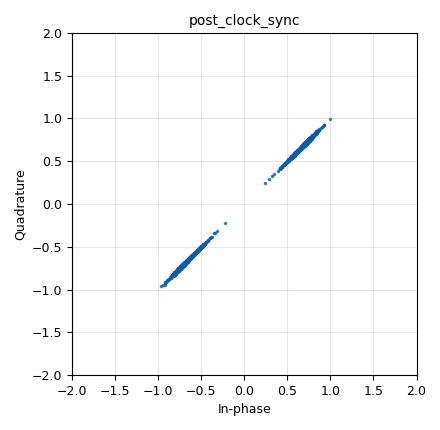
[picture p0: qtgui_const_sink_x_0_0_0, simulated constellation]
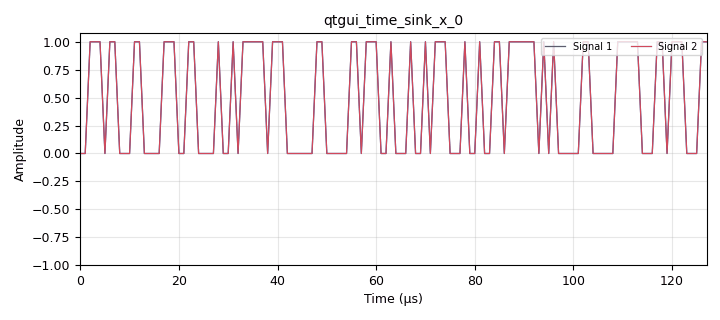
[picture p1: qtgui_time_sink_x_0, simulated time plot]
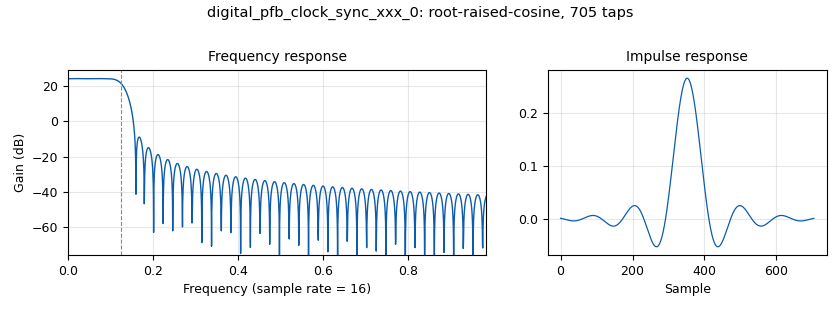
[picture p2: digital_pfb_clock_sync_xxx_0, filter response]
options:
  parameters:
    author: J. Gier
    generate_options: qt_gui
    id: BPSK_Mod_Demod
    output_language: python
    title: BPSK Modulator / Demodulator
  states: {}

blocks:
- name: bpsk
  id: variable_constellation
  parameters:
    precision: '8'
    type: bpsk
  states: {}
- name: delay
  id: variable
  parameters:
    value: int((1.875*sps+7)*2)
  states: {}
- name: excess_bw
  id: variable
  parameters:
    value: '0.220'
  states: {}
- name: freq_offset
  id: variable_qtgui_range
  parameters:
    label: 'Channel: Freq Offset'
    start: '-100e-2 * (1/samp_rate)'
    step: 10e-2 * (1/samp_rate)
    stop: 100e-2 * (1/samp_rate)
    value: '0'
  states: {}
- name: nfilts
  id: variable
  parameters:
    value: '16'
  states: {}
- name: noise_volt
  id: variable_qtgui_range
  parameters:
    label: 'Channel: Noise Voltage'
    start: '0'
    step: '100e-3'
    stop: '500e-3'
    value: '10E-3'
  states: {}
- name: phase_bw
  id: variable
  parameters:
    value: '62.8e-3'
  states: {}
- name: rrc_taps
  id: variable
  parameters:
    value: firdes.root_raised_cosine(nfilts, nfilts, 1.0/float(sps), excess_bw, 11*sps*nfilts)
  states: {}
- name: samp_rate
  id: variable
  parameters:
    value: '1000000'
  states: {}
- name: sps
  id: variable
  parameters:
    value: '4'
  states: {}
- name: time_offset
  id: variable_qtgui_range
  parameters:
    label: 'Channel: time offset'
    start: '0.999'
    step: '100e-6'
    stop: '1.001'
    value: '1'
  states: {}
- name: BER
  id: qtgui_number_sink
  parameters:
    graph_type: qtgui.NUM_GRAPH_NONE
    name: BER
    type: float
  states: {}
- name: analog_random_source_x_0
  id: analog_random_source_x
  parameters:
    max: '255'
    min: '0'
    num_samps: '10000'
    repeat: 'True'
    type: byte
  states: {}
- name: blocks_char_to_float_0
  id: blocks_char_to_float
  parameters:
    scale: '1'
  states: {}
- name: blocks_char_to_float_0_0
  id: blocks_char_to_float
  parameters:
    scale: '1'
  states: {}
- name: blocks_char_to_float_0_0_0
  id: blocks_char_to_float
  parameters:
    scale: '1'
  states: {}
- name: blocks_delay_0
  id: blocks_delay
  parameters:
    delay: delay
    type: byte
  states: {}
- name: blocks_integrate_xx_0
  id: blocks_integrate_xx
  parameters:
    decim: '100'
    type: float
  states: {}
- name: blocks_multiply_const_vxx_0
  id: blocks_multiply_const_vxx
  parameters:
    const: '0.010'
    type: float
  states: {}
- name: blocks_throttle2_0
  id: blocks_throttle2
  parameters:
    samples_per_second: samp_rate
    type: complex
  states: {}
- name: blocks_unpack_k_bits_bb_1_0
  id: blocks_unpack_k_bits_bb
  parameters:
    k: '8'
  states: {}
- name: blocks_xor_xx_0
  id: blocks_xor_xx
  parameters:
    type: byte
  states: {}
- name: channels_channel_model_0
  id: channels_channel_model
  parameters:
    comment: Epsilon is time offset
    epsilon: time_offset
    freq_offset: freq_offset
    noise_voltage: noise_volt
    seed: '0'
    taps: '1.0'
  states: {}
- name: digital_constellation_decoder_cb_0
  id: digital_constellation_decoder_cb
  parameters:
    constellation: bpsk
  states: {}
- name: digital_constellation_modulator_0
  id: digital_constellation_modulator
  parameters:
    constellation: bpsk
    differential: 'True'
    excess_bw: excess_bw
    samples_per_symbol: sps
  states: {}
- name: digital_costas_loop_cc_0
  id: digital_costas_loop_cc
  parameters:
    order: '4'
    use_snr: 'True'
    w: phase_bw
  states: {}
- name: digital_diff_decoder_bb_0
  id: digital_diff_decoder_bb
  parameters:
    coding: digital.DIFF_DIFFERENTIAL
    modulus: '2'
  states: {}
- name: digital_pfb_clock_sync_xxx_0
  id: digital_pfb_clock_sync_xxx
  parameters:
    filter_size: '16'
    init_phase: '8'
    loop_bw: excess_bw
    max_dev: '1.5'
    osps: '1'
    sps: sps
    taps: rrc_taps
    type: ccf
  states: {}
- name: digital_symbol_sync_xx_0
  id: digital_symbol_sync_xx
  parameters:
    damping: '1.0'
    loop_bw: phase_bw
    max_dev: '1.5'
    nfilters: nfilts
    osps: '1'
    pfb_mf_taps: rrc_taps
    resamp_type: digital.IR_PFB_NO_MF
    sps: sps
    ted_gain: '1'
    ted_type: digital.TED_SIGNAL_TIMES_SLOPE_ML
    type: cc
  states: {state: disabled}
- name: note_0
  id: note
  parameters:
    note: 'Source: https://wiki.gnuradio.org/index.php?title=QPSK_Mod_and_Demod#Objectives'
  states: {}
- name: qtgui_const_sink_x_0_0_0
  id: qtgui_const_sink_x
  parameters:
    name: post_clock_sync
    size: '2056'
    type: complex
  states: {}
- name: qtgui_const_sink_x_0_0_0_0
  id: qtgui_const_sink_x
  parameters:
    name: post_mod
    size: '2056'
    type: complex
  states: {state: disabled}
- name: qtgui_time_sink_x_0
  id: qtgui_time_sink_x
  parameters:
    grid: 'True'
    nconnections: '2'
    size: '128'
    srate: samp_rate
    type: float
  states: {}
- name: virtual_sink_0
  id: virtual_sink
  parameters:
    stream_id: r1
  states: {}
- name: virtual_sink_1
  id: virtual_sink
  parameters:
    stream_id: r2
  states: {}
- name: virtual_sink_1_0
  id: virtual_sink
  parameters:
    stream_id: t1
  states: {}
- name: virtual_source_0
  id: virtual_source
  parameters:
    stream_id: r1
  states: {}
- name: virtual_source_1
  id: virtual_source
  parameters:
    stream_id: r2
  states: {}
- name: virtual_source_1_0
  id: virtual_source
  parameters:
    stream_id: t1
  states: {}

connections:
- [analog_random_source_x_0, '0', digital_constellation_modulator_0, '0']
- [analog_random_source_x_0, '0', virtual_sink_1_0, '0']
- [blocks_char_to_float_0, '0', qtgui_time_sink_x_0, '0']
- [blocks_char_to_float_0_0, '0', qtgui_time_sink_x_0, '1']
- [blocks_char_to_float_0_0_0, '0', blocks_integrate_xx_0, '0']
- [blocks_delay_0, '0', blocks_char_to_float_0_0, '0']
- [blocks_delay_0, '0', blocks_xor_xx_0, '1']
- [blocks_integrate_xx_0, '0', blocks_multiply_const_vxx_0, '0']
- [blocks_multiply_const_vxx_0, '0', BER, '0']
- [blocks_throttle2_0, '0', channels_channel_model_0, '0']
- [blocks_throttle2_0, '0', qtgui_const_sink_x_0_0_0_0, '0']
- [blocks_unpack_k_bits_bb_1_0, '0', blocks_delay_0, '0']
- [blocks_xor_xx_0, '0', blocks_char_to_float_0_0_0, '0']
- [channels_channel_model_0, '0', digital_pfb_clock_sync_xxx_0, '0']
- [channels_channel_model_0, '0', digital_symbol_sync_xx_0, '0']
- [digital_constellation_decoder_cb_0, '0', digital_diff_decoder_bb_0, '0']
- [digital_constellation_modulator_0, '0', blocks_throttle2_0, '0']
- [digital_costas_loop_cc_0, '0', digital_constellation_decoder_cb_0, '0']
- [digital_costas_loop_cc_0, '0', qtgui_const_sink_x_0_0_0, '0']
- [digital_diff_decoder_bb_0, '0', virtual_sink_1, '0']
- [digital_pfb_clock_sync_xxx_0, '0', virtual_sink_0, '0']
- [digital_symbol_sync_xx_0, '0', virtual_sink_0, '0']
- [virtual_source_0, '0', digital_costas_loop_cc_0, '0']
- [virtual_source_1, '0', blocks_char_to_float_0, '0']
- [virtual_source_1, '0', blocks_xor_xx_0, '0']
- [virtual_source_1_0, '0', blocks_unpack_k_bits_bb_1_0, '0']

metadata:
  file_format: 1
  grc_version: 3.10.12.0
